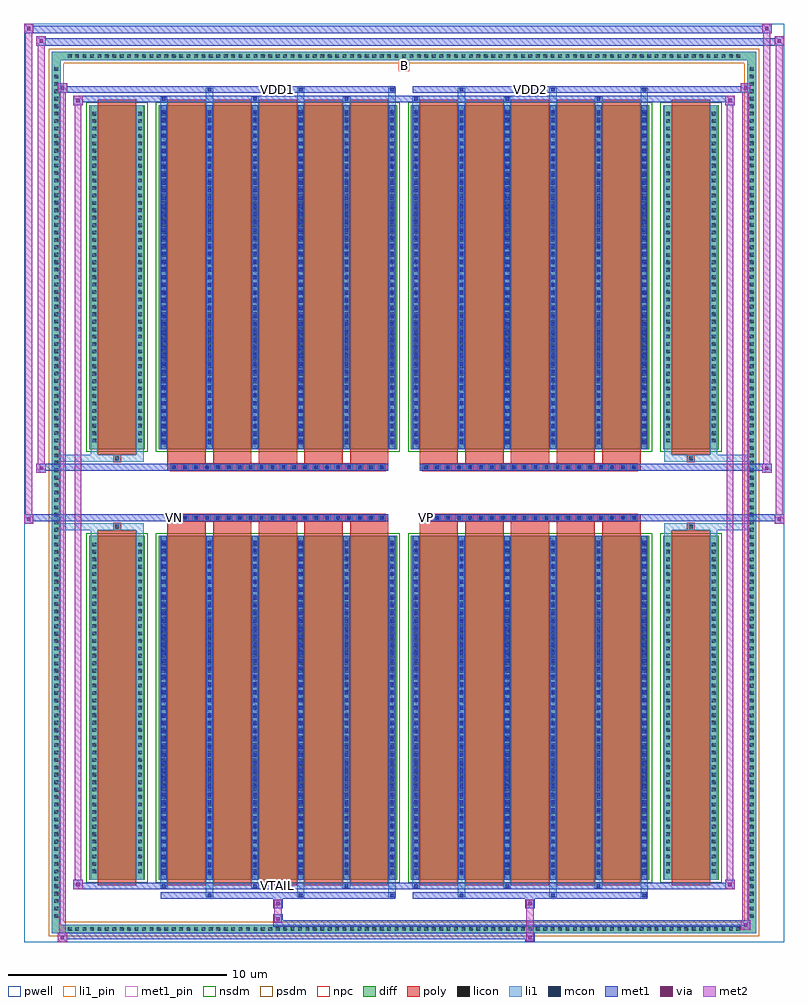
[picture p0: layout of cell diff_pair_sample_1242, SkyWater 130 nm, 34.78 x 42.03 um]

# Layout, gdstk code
import gdstk
lib = gdstk.Library(unit=1e-6, precision=5e-09)
def R(c, l, rs):  # rectangles x0, y0, x1, y1
    for r in rs: c.add(gdstk.rectangle(r[:2], r[2:], *l))
def A(c, l, x, y, w, h, nx, ny, dx, dy):  # array of equal rectangles
    R(c, l, [(x+i*dx, y+j*dy, x+i*dx+w, y+j*dy+h) for i in range(nx) for j in range(ny)])
def P(c, l, *ps):  # polygons
    for p in ps: c.add(gdstk.Polygon(p, *l))
pwell = (64, 44)
diff = (65, 20)
poly = (66, 20)
licon = (66, 44)
li1_pin = (67, 16)
li1 = (67, 20)
mcon = (67, 44)
met1_pin = (68, 16)
met1 = (68, 20)
via = (68, 44)
met2 = (69, 20)
nsdm = (93, 44)
psdm = (94, 20)
npc = (95, 20)

diff_pair_sample_1242 = lib.new_cell('diff_pair_sample_1242')
R(diff_pair_sample_1242, pwell, [(-17.39,-20.58,17.39,21.45), (-14.71,-18.77,-0.01,-0.795), (0.01,-18.77,14.71,-0.795), (-14.71,0.795,-0.01,18.77), (0.01,0.795,14.71,18.77)])
A(diff_pair_sample_1242, diff, -15.505, -20.18, 0.41, 0.41, 91, 2, 0.34, 39.95)
A(diff_pair_sample_1242, diff, -16.12, -19.585, 0.41, 0.41, 1, 115, 0, 0.34)
A(diff_pair_sample_1242, diff, 15.71, -19.585, 0.41, 0.41, 1, 115, 0, 0.34)
R(diff_pair_sample_1242, diff, [(-15.505,-20.18,15.505,-19.77), (-16.12,-19.585,-15.71,19.585), (15.71,-19.585,16.12,19.585), (-14.4,-17.725,-11.86,-1.985), (-11.22,-17.725,-0.32,-1.985), (0.32,-17.725,11.22,-1.985), (11.86,-17.725,14.4,-1.985), (-14.4,1.985,-11.86,17.725), (-11.22,1.985,-0.32,17.725), (0.32,1.985,11.22,17.725), (11.86,1.985,14.4,17.725), (-15.505,19.77,15.505,20.18)])
P(diff_pair_sample_1242, diff, [(16.12,20.18),(-16.12,20.18),(-16.12,-19.77),(-15.71,-19.77),(-15.71,19.77),(15.71,19.77),(15.71,-19.77),(-15.71,-19.77),(-16.12,-19.77),(-16.12,-20.18),(16.12,-20.18)])
A(diff_pair_sample_1242, poly, -10.83, -17.98, 1.76, 16.25, 5, 2, 2.09, 19.71)
A(diff_pair_sample_1242, poly, 0.71, -17.98, 1.76, 16.25, 5, 2, 2.09, 19.71)
A(diff_pair_sample_1242, poly, -10.83, -1.73, 1.76, 0.405, 5, 2, 2.09, 3.055)
A(diff_pair_sample_1242, poly, 0.71, -1.73, 1.76, 0.405, 5, 2, 2.09, 3.055)
A(diff_pair_sample_1242, poly, -10.685, -1.325, 0.33, 0.33, 20, 2, 0.5, 2.32)
A(diff_pair_sample_1242, poly, 0.855, -1.325, 0.33, 0.33, 20, 2, 0.5, 2.32)
R(diff_pair_sample_1242, poly, [(-14.01,-17.98,-12.25,-1.73), (12.25,-17.98,14.01,-1.73), (-13.295,-1.73,-12.965,-1.4), (-13.295,-1.73,-12.965,-1.4), (12.965,-1.73,13.295,-1.4), (12.965,-1.73,13.295,-1.4), (-10.83,-1.325,-0.71,-0.995), (0.71,-1.325,10.83,-0.995), (-10.83,0.995,-0.71,1.325), (0.71,0.995,10.83,1.325), (-13.295,1.4,-12.965,1.73), (-13.295,1.4,-12.965,1.73), (12.965,1.4,13.295,1.73), (12.965,1.4,13.295,1.73), (-14.01,1.73,-12.25,17.98), (12.25,1.73,14.01,17.98)])
A(diff_pair_sample_1242, licon, -15.385, -20.06, 0.17, 0.17, 91, 2, 0.34, 39.95)
A(diff_pair_sample_1242, licon, -16, -19.465, 0.17, 0.17, 1, 115, 0, 0.34)
A(diff_pair_sample_1242, licon, 15.83, -19.465, 0.17, 0.17, 1, 115, 0, 0.34)
A(diff_pair_sample_1242, licon, -14.26, -17.42, 0.17, 0.17, 1, 45, 0, 0.34)
A(diff_pair_sample_1242, licon, -12.17, -17.42, 0.17, 0.17, 1, 45, 0, 0.34)
A(diff_pair_sample_1242, licon, -11.08, -17.42, 0.17, 0.17, 6, 45, 2.09, 0.34)
A(diff_pair_sample_1242, licon, 0.46, -17.42, 0.17, 0.17, 6, 45, 2.09, 0.34)
A(diff_pair_sample_1242, licon, 12, -17.42, 0.17, 0.17, 1, 45, 0, 0.34)
A(diff_pair_sample_1242, licon, 14.09, -17.42, 0.17, 0.17, 1, 45, 0, 0.34)
A(diff_pair_sample_1242, licon, -10.605, -1.245, 0.17, 0.17, 20, 2, 0.5, 2.32)
A(diff_pair_sample_1242, licon, 0.935, -1.245, 0.17, 0.17, 20, 2, 0.5, 2.32)
A(diff_pair_sample_1242, licon, -14.26, 2.29, 0.17, 0.17, 1, 45, 0, 0.34)
A(diff_pair_sample_1242, licon, -12.17, 2.29, 0.17, 0.17, 1, 45, 0, 0.34)
A(diff_pair_sample_1242, licon, -11.08, 2.29, 0.17, 0.17, 6, 45, 2.09, 0.34)
A(diff_pair_sample_1242, licon, 0.46, 2.29, 0.17, 0.17, 6, 45, 2.09, 0.34)
A(diff_pair_sample_1242, licon, 12, 2.29, 0.17, 0.17, 1, 45, 0, 0.34)
A(diff_pair_sample_1242, licon, 14.09, 2.29, 0.17, 0.17, 1, 45, 0, 0.34)
R(diff_pair_sample_1242, licon, [(-13.215,-1.65,-13.045,-1.48), (13.045,-1.65,13.215,-1.48), (-13.215,1.48,-13.045,1.65), (13.045,1.48,13.215,1.65)])
R(diff_pair_sample_1242, li1_pin, [(-0.25,19.27,0.25,19.77)])
A(diff_pair_sample_1242, li1, -15.465, -20.14, 0.33, 0.33, 91, 2, 0.34, 39.95)
A(diff_pair_sample_1242, li1, -16.08, -19.545, 0.33, 0.33, 1, 115, 0, 0.34)
A(diff_pair_sample_1242, li1, 15.75, -19.545, 0.33, 0.33, 1, 115, 0, 0.34)
A(diff_pair_sample_1242, li1, -9.07, -18.53, 0.33, 0.805, 3, 2, 4.18, 36.255)
A(diff_pair_sample_1242, li1, -8.99, -18.53, 0.17, 0.17, 3, 2, 4.18, 36.89)
A(diff_pair_sample_1242, li1, 2.47, -18.53, 0.33, 0.805, 3, 2, 4.18, 36.255)
A(diff_pair_sample_1242, li1, 2.55, -18.53, 0.17, 0.17, 3, 2, 4.18, 36.89)
A(diff_pair_sample_1242, li1, -11.16, -18.1, 0.33, 0.375, 3, 2, 4.18, 35.825)
A(diff_pair_sample_1242, li1, -11.08, -18.1, 0.17, 0.17, 3, 2, 4.18, 36.03)
A(diff_pair_sample_1242, li1, 0.38, -18.1, 0.33, 0.375, 3, 2, 4.18, 35.825)
A(diff_pair_sample_1242, li1, 0.46, -18.1, 0.17, 0.17, 3, 2, 4.18, 36.03)
A(diff_pair_sample_1242, li1, -11.16, -17.725, 0.33, 15.74, 6, 2, 2.09, 19.71)
A(diff_pair_sample_1242, li1, 0.38, -17.725, 0.33, 15.74, 6, 2, 2.09, 19.71)
A(diff_pair_sample_1242, li1, -14.34, -17.5, 0.33, 0.33, 1, 45, 0, 0.34)
A(diff_pair_sample_1242, li1, -12.25, -17.5, 0.33, 0.33, 1, 45, 0, 0.34)
A(diff_pair_sample_1242, li1, -11.16, -17.5, 0.33, 0.33, 6, 45, 2.09, 0.34)
A(diff_pair_sample_1242, li1, -11.08, -17.5, 0.17, 0.17, 6, 43, 2.09, 0.36)
A(diff_pair_sample_1242, li1, -11.08, -17.5, 0.17, 15.29, 6, 2, 2.09, 19.71)
A(diff_pair_sample_1242, li1, 0.38, -17.5, 0.33, 0.33, 6, 45, 2.09, 0.34)
A(diff_pair_sample_1242, li1, 0.46, -17.5, 0.17, 0.17, 6, 43, 2.09, 0.36)
A(diff_pair_sample_1242, li1, 0.46, -17.5, 0.17, 15.29, 6, 2, 2.09, 19.71)
A(diff_pair_sample_1242, li1, 11.92, -17.5, 0.33, 0.33, 1, 45, 0, 0.34)
A(diff_pair_sample_1242, li1, 14.01, -17.5, 0.33, 0.33, 1, 45, 0, 0.34)
A(diff_pair_sample_1242, li1, -10.685, -1.325, 0.33, 0.33, 20, 2, 0.5, 2.32)
A(diff_pair_sample_1242, li1, 0.855, -1.325, 0.33, 0.33, 20, 2, 0.5, 2.32)
A(diff_pair_sample_1242, li1, -14.34, 2.21, 0.33, 0.33, 1, 45, 0, 0.34)
A(diff_pair_sample_1242, li1, -12.25, 2.21, 0.33, 0.33, 1, 45, 0, 0.34)
A(diff_pair_sample_1242, li1, -11.16, 2.21, 0.33, 0.33, 6, 45, 2.09, 0.34)
A(diff_pair_sample_1242, li1, -11.08, 2.21, 0.17, 0.17, 6, 43, 2.09, 0.36)
A(diff_pair_sample_1242, li1, 0.38, 2.21, 0.33, 0.33, 6, 45, 2.09, 0.34)
A(diff_pair_sample_1242, li1, 0.46, 2.21, 0.17, 0.17, 6, 43, 2.09, 0.36)
A(diff_pair_sample_1242, li1, 11.92, 2.21, 0.33, 0.33, 1, 45, 0, 0.34)
A(diff_pair_sample_1242, li1, 14.01, 2.21, 0.33, 0.33, 1, 45, 0, 0.34)
R(diff_pair_sample_1242, li1, [(-16.12,-20.18,-15.71,-19.77), (-16.12,-20.18,-15.71,-19.77), (-15.71,-20.18,15.71,-19.77), (15.71,-20.18,16.12,-19.77), (15.71,-20.18,16.12,-19.77), (-16.12,-19.77,-15.71,19.77), (15.71,-19.77,16.12,19.77), (-14.34,-17.725,-14.01,-1.985), (-12.25,-17.725,-11.92,-1.985), (11.92,-17.725,12.25,-1.985), (14.01,-17.725,14.34,-1.985), (-14.34,-1.985,-14.01,-1.4), (-12.25,-1.985,-11.92,-1.4), (11.92,-1.985,12.25,-1.4), (14.01,-1.985,14.34,-1.4), (-16.12,-1.73,-13.295,-1.4), (-14.34,-1.73,-13.295,-1.4), (-13.295,-1.73,-12.965,-1.4), (-12.965,-1.73,-11.92,-1.4), (11.92,-1.73,12.965,-1.4), (12.965,-1.73,13.295,-1.4), (12.965,-1.73,16.12,-1.4), (13.295,-1.73,14.34,-1.4), (-16.12,1.4,-13.295,1.73), (-14.34,1.4,-13.295,1.73), (-14.34,1.4,-14.01,1.985), (-13.295,1.4,-12.965,1.73), (-12.965,1.4,-11.92,1.73), (-12.25,1.4,-11.92,1.985), (11.92,1.4,12.965,1.73), (11.92,1.4,12.25,1.985), (12.965,1.4,13.295,1.73), (12.965,1.4,16.12,1.73), (13.295,1.4,14.34,1.73), (14.01,1.4,14.34,1.985), (-14.34,1.985,-14.01,17.725), (-12.25,1.985,-11.92,17.725), (11.92,1.985,12.25,17.725), (14.01,1.985,14.34,17.725), (-16.12,19.77,-15.71,20.18), (-16.12,19.77,-15.71,20.18), (-15.71,19.77,15.71,20.18), (15.71,19.77,16.12,20.18), (15.71,19.77,16.12,20.18)])
A(diff_pair_sample_1242, mcon, -8.99, -18.53, 0.17, 0.17, 3, 2, 4.18, 36.89)
A(diff_pair_sample_1242, mcon, 2.55, -18.53, 0.17, 0.17, 3, 2, 4.18, 36.89)
A(diff_pair_sample_1242, mcon, -11.08, -18.1, 0.17, 0.17, 3, 2, 4.18, 36.03)
A(diff_pair_sample_1242, mcon, 0.46, -18.1, 0.17, 0.17, 3, 2, 4.18, 36.03)
A(diff_pair_sample_1242, mcon, -11.08, -17.5, 0.17, 0.17, 6, 43, 2.09, 0.36)
A(diff_pair_sample_1242, mcon, 0.46, -17.5, 0.17, 0.17, 6, 43, 2.09, 0.36)
A(diff_pair_sample_1242, mcon, -10.605, -1.245, 0.17, 0.17, 20, 2, 0.5, 2.32)
A(diff_pair_sample_1242, mcon, 0.935, -1.245, 0.17, 0.17, 20, 2, 0.5, 2.32)
A(diff_pair_sample_1242, mcon, -11.08, 2.21, 0.17, 0.17, 6, 43, 2.09, 0.36)
A(diff_pair_sample_1242, mcon, 0.46, 2.21, 0.17, 0.17, 6, 43, 2.09, 0.36)
R(diff_pair_sample_1242, met1_pin, [(-5.905,-18.14,-5.635,-17.87), (-10.655,-1.285,-10.385,-1.015), (0.885,-1.285,1.155,-1.015), (-5.905,18.32,-5.635,18.59), (5.635,18.32,5.905,18.59)])
A(diff_pair_sample_1242, met1, -9.05, -18.59, 0.29, 0.29, 3, 2, 4.18, 36.89)
A(diff_pair_sample_1242, met1, 2.49, -18.59, 0.29, 0.29, 3, 2, 4.18, 36.89)
A(diff_pair_sample_1242, met1, -11.14, -18.16, 0.29, 0.29, 3, 2, 4.18, 36.03)
A(diff_pair_sample_1242, met1, 0.4, -18.16, 0.29, 0.29, 3, 2, 4.18, 36.03)
A(diff_pair_sample_1242, met1, -11.14, -17.725, 0.29, 15.74, 6, 2, 2.09, 19.71)
A(diff_pair_sample_1242, met1, 0.4, -17.725, 0.29, 15.74, 6, 2, 2.09, 19.71)
A(diff_pair_sample_1242, met1, -11.14, -17.56, 0.29, 0.29, 6, 43, 2.09, 0.36)
A(diff_pair_sample_1242, met1, 0.4, -17.56, 0.29, 0.29, 6, 43, 2.09, 0.36)
A(diff_pair_sample_1242, met1, -10.665, -1.305, 0.29, 0.29, 20, 2, 0.5, 2.32)
A(diff_pair_sample_1242, met1, 0.875, -1.305, 0.29, 0.29, 20, 2, 0.5, 2.32)
A(diff_pair_sample_1242, met1, -11.14, 2.15, 0.29, 0.29, 6, 43, 2.09, 0.36)
A(diff_pair_sample_1242, met1, 0.4, 2.15, 0.29, 0.29, 6, 43, 2.09, 0.36)
R(diff_pair_sample_1242, met1, [(-15.85,-20.58,-15.42,-20.15), (5.555,-20.58,5.985,-20.15), (-15.85,-20.44,5.985,-20.15), (15.42,-20.01,15.85,-19.58), (-5.985,-19.87,15.85,-19.58), (-5.985,-19.73,-5.555,-19.3), (-5.985,-19.02,-5.555,-18.59), (5.555,-19.02,5.985,-18.59), (-11.14,-18.59,-0.4,-18.3), (0.4,-18.59,11.14,-18.3), (-15.14,-18.16,-14.71,-17.73), (-15.14,-18.16,-11.14,-17.87), (-11.14,-18.16,-0.4,-17.87), (-0.4,-18.16,0.4,-17.87), (0.4,-18.16,11.14,-17.87), (11.14,-18.16,15.14,-17.87), (14.71,-18.16,15.14,-17.73), (-17.39,-1.425,-16.96,-0.995), (16.96,-1.425,17.39,-0.995), (-17.39,-1.325,-0.71,-0.995), (-10.83,-1.325,-0.71,-0.995), (0.71,-1.325,10.83,-0.995), (0.71,-1.325,17.39,-0.995), (-16.82,0.895,-16.39,1.325), (16.39,0.895,16.82,1.325), (-16.82,0.995,-10.83,1.325), (-10.83,0.995,-0.71,1.325), (0.71,0.995,10.83,1.325), (10.83,0.995,16.82,1.325), (-15.14,17.73,-14.71,18.16), (14.71,17.73,15.14,18.16), (-15.14,17.87,-11.14,18.16), (-11.14,17.87,-0.4,18.16), (-0.4,17.87,0.4,18.16), (0.4,17.87,11.14,18.16), (11.14,17.87,15.14,18.16), (-15.85,18.3,-15.42,18.73), (-15.85,18.3,-11.14,18.59), (-11.14,18.3,-0.4,18.59), (0.4,18.3,11.14,18.59), (11.14,18.3,15.85,18.59), (15.42,18.3,15.85,18.73), (-16.82,20.45,-16.39,20.88), (-16.82,20.45,-14.71,20.78), (-14.71,20.45,14.71,20.78), (14.71,20.45,17.39,20.78), (16.96,20.45,17.39,20.88), (-17.39,21.02,-16.96,21.45), (-17.39,21.02,-14.71,21.35), (-14.71,21.02,14.71,21.35), (14.71,21.02,16.82,21.35), (16.39,21.02,16.82,21.45)])
R(diff_pair_sample_1242, via, [(-15.71,-20.44,-15.56,-20.29), (5.695,-20.44,5.845,-20.29), (15.56,-19.87,15.71,-19.72), (-5.845,-19.59,-5.695,-19.44), (-5.845,-18.88,-5.695,-18.73), (5.695,-18.88,5.845,-18.73), (-15,-18.02,-14.85,-17.87), (14.85,-18.02,15,-17.87), (-17.25,-1.285,-17.1,-1.135), (17.1,-1.285,17.25,-1.135), (-16.68,1.035,-16.53,1.185), (16.53,1.035,16.68,1.185), (-15,17.87,-14.85,18.02), (14.85,17.87,15,18.02), (-15.71,18.44,-15.56,18.59), (15.56,18.44,15.71,18.59), (-16.68,20.59,-16.53,20.74), (17.1,20.59,17.25,20.74), (-17.25,21.16,-17.1,21.31), (16.53,21.16,16.68,21.31)])
R(diff_pair_sample_1242, met2, [(-15.85,-20.58,-15.42,-20.15), (-15.78,-20.58,-15.49,18.73), (-15.49,-20.58,-15.42,-20.15), (-15.8,-20.53,-15.47,-20.2), (5.605,-20.53,5.935,-20.2), (5.605,-20.2,5.935,-18.97), (15.42,-20.01,15.85,-19.58), (15.49,-20.01,15.78,18.73), (15.78,-20.01,15.85,-19.58), (15.47,-19.96,15.8,-19.63), (-5.935,-19.68,-5.605,-19.35), (-5.935,-19.35,-5.605,-18.97), (-5.935,-18.97,-5.605,-18.64), (5.605,-18.97,5.935,-18.64), (-15.14,-18.16,-14.71,-17.73), (-15.07,-18.16,-14.78,18.16), (-14.78,-18.16,-14.71,-17.73), (14.71,-18.16,15.14,-17.73), (14.78,-18.16,15.07,18.16), (15.07,-18.16,15.14,-17.73), (-15.09,-18.11,-14.76,-17.78), (14.76,-18.11,15.09,-17.78), (-17.39,-1.425,-16.96,-0.995), (-17.34,-1.425,-17.01,21.45), (-17.01,-1.425,-16.96,-0.995), (16.96,-1.425,17.39,-0.995), (17.01,-1.425,17.34,20.88), (17.34,-1.425,17.39,-0.995), (-17.34,-1.375,-17.01,-1.045), (17.01,-1.375,17.34,-1.045), (-16.82,0.895,-16.39,1.325), (-16.77,0.895,-16.44,20.88), (-16.44,0.895,-16.39,1.325), (16.39,0.895,16.82,1.325), (16.44,0.895,16.77,21.45), (16.77,0.895,16.82,1.325), (-16.77,0.945,-16.44,1.275), (16.44,0.945,16.77,1.275), (-15.14,17.73,-14.71,18.16), (-14.78,17.73,-14.71,18.16), (14.71,17.73,15.14,18.16), (15.07,17.73,15.14,18.16), (-15.09,17.78,-14.76,18.11), (14.76,17.78,15.09,18.11), (-15.85,18.3,-15.42,18.73), (-15.49,18.3,-15.42,18.73), (15.42,18.3,15.85,18.73), (15.78,18.3,15.85,18.73), (-15.8,18.35,-15.47,18.68), (15.47,18.35,15.8,18.68), (-16.82,20.45,-16.39,20.88), (-16.44,20.45,-16.39,20.88), (16.96,20.45,17.39,20.88), (17.34,20.45,17.39,20.88), (-16.77,20.5,-16.44,20.83), (17.01,20.5,17.34,20.83), (-17.39,21.02,-16.96,21.45), (-17.01,21.02,-16.96,21.45), (16.39,21.02,16.82,21.45), (16.77,21.02,16.82,21.45), (-17.34,21.07,-17.01,21.4), (16.44,21.07,16.77,21.4)])
R(diff_pair_sample_1242, nsdm, [(-14.53,-17.855,-11.73,-1.855), (-11.35,-17.855,-0.19,-1.855), (0.19,-17.855,11.35,-1.855), (11.73,-17.855,14.53,-1.855), (-14.53,1.855,-11.73,17.855), (-11.35,1.855,-0.19,17.855), (0.19,1.855,11.35,17.855), (11.73,1.855,14.53,17.855)])
P(diff_pair_sample_1242, psdm, [(16.25,20.31),(-16.25,20.31),(-16.25,-19.64),(-15.58,-19.64),(-15.58,19.64),(15.58,19.64),(15.58,-19.64),(-15.58,-19.64),(-16.25,-19.64),(-16.25,-20.31),(16.25,-20.31)])
A(diff_pair_sample_1242, npc, -10.705, -1.345, 0.37, 0.37, 20, 2, 0.5, 2.32)
A(diff_pair_sample_1242, npc, 0.835, -1.345, 0.37, 0.37, 20, 2, 0.5, 2.32)
R(diff_pair_sample_1242, npc, [(-13.315,-1.75,-12.945,-1.38), (12.945,-1.75,13.315,-1.38), (-10.705,-1.345,-9.835,-0.975), (-10.705,-1.345,-9.835,-0.975), (-10.205,-1.345,-9.335,-0.975), (-10.205,-1.345,-9.335,-0.975), (-9.705,-1.345,-8.835,-0.975), (-9.705,-1.345,-8.835,-0.975), (-9.205,-1.345,-8.335,-0.975), (-9.205,-1.345,-8.335,-0.975), (-8.705,-1.345,-7.835,-0.975), (-8.705,-1.345,-7.835,-0.975), (-8.205,-1.345,-7.335,-0.975), (-8.205,-1.345,-7.335,-0.975), (-7.705,-1.345,-6.835,-0.975), (-7.705,-1.345,-6.835,-0.975), (-7.205,-1.345,-6.335,-0.975), (-7.205,-1.345,-6.335,-0.975), (-6.705,-1.345,-5.835,-0.975), (-6.705,-1.345,-5.835,-0.975), (-6.205,-1.345,-5.335,-0.975), (-6.205,-1.345,-5.335,-0.975), (-5.705,-1.345,-4.835,-0.975), (-5.705,-1.345,-4.835,-0.975), (-5.205,-1.345,-4.335,-0.975), (-5.205,-1.345,-4.335,-0.975), (-4.705,-1.345,-3.835,-0.975), (-4.705,-1.345,-3.835,-0.975), (-4.205,-1.345,-3.335,-0.975), (-4.205,-1.345,-3.335,-0.975), (-3.705,-1.345,-2.835,-0.975), (-3.705,-1.345,-2.835,-0.975), (-3.205,-1.345,-2.335,-0.975), (-3.205,-1.345,-2.335,-0.975), (-2.705,-1.345,-1.835,-0.975), (-2.705,-1.345,-1.835,-0.975), (-2.205,-1.345,-1.335,-0.975), (-2.205,-1.345,-1.335,-0.975), (-1.705,-1.345,-0.835,-0.975), (-1.705,-1.345,-0.835,-0.975), (0.835,-1.345,1.705,-0.975), (0.835,-1.345,1.705,-0.975), (1.335,-1.345,2.205,-0.975), (1.335,-1.345,2.205,-0.975), (1.835,-1.345,2.705,-0.975), (1.835,-1.345,2.705,-0.975), (2.335,-1.345,3.205,-0.975), (2.335,-1.345,3.205,-0.975), (2.835,-1.345,3.705,-0.975), (2.835,-1.345,3.705,-0.975), (3.335,-1.345,4.205,-0.975), (3.335,-1.345,4.205,-0.975), (3.835,-1.345,4.705,-0.975), (3.835,-1.345,4.705,-0.975), (4.335,-1.345,5.205,-0.975), (4.335,-1.345,5.205,-0.975), (4.835,-1.345,5.705,-0.975), (4.835,-1.345,5.705,-0.975), (5.335,-1.345,6.205,-0.975), (5.335,-1.345,6.205,-0.975), (5.835,-1.345,6.705,-0.975), (5.835,-1.345,6.705,-0.975), (6.335,-1.345,7.205,-0.975), (6.335,-1.345,7.205,-0.975), (6.835,-1.345,7.705,-0.975), (6.835,-1.345,7.705,-0.975), (7.335,-1.345,8.205,-0.975), (7.335,-1.345,8.205,-0.975), (7.835,-1.345,8.705,-0.975), (7.835,-1.345,8.705,-0.975), (8.335,-1.345,9.205,-0.975), (8.335,-1.345,9.205,-0.975), (8.835,-1.345,9.705,-0.975), (8.835,-1.345,9.705,-0.975), (9.335,-1.345,10.205,-0.975), (9.335,-1.345,10.205,-0.975), (9.835,-1.345,10.705,-0.975), (9.835,-1.345,10.705,-0.975), (-10.705,0.975,-9.835,1.345), (-10.705,0.975,-9.835,1.345), (-10.205,0.975,-9.335,1.345), (-10.205,0.975,-9.335,1.345), (-9.705,0.975,-8.835,1.345), (-9.705,0.975,-8.835,1.345), (-9.205,0.975,-8.335,1.345), (-9.205,0.975,-8.335,1.345), (-8.705,0.975,-7.835,1.345), (-8.705,0.975,-7.835,1.345), (-8.205,0.975,-7.335,1.345), (-8.205,0.975,-7.335,1.345), (-7.705,0.975,-6.835,1.345), (-7.705,0.975,-6.835,1.345), (-7.205,0.975,-6.335,1.345), (-7.205,0.975,-6.335,1.345), (-6.705,0.975,-5.835,1.345), (-6.705,0.975,-5.835,1.345), (-6.205,0.975,-5.335,1.345), (-6.205,0.975,-5.335,1.345), (-5.705,0.975,-4.835,1.345), (-5.705,0.975,-4.835,1.345), (-5.205,0.975,-4.335,1.345), (-5.205,0.975,-4.335,1.345), (-4.705,0.975,-3.835,1.345), (-4.705,0.975,-3.835,1.345), (-4.205,0.975,-3.335,1.345), (-4.205,0.975,-3.335,1.345), (-3.705,0.975,-2.835,1.345), (-3.705,0.975,-2.835,1.345), (-3.205,0.975,-2.335,1.345), (-3.205,0.975,-2.335,1.345), (-2.705,0.975,-1.835,1.345), (-2.705,0.975,-1.835,1.345), (-2.205,0.975,-1.335,1.345), (-2.205,0.975,-1.335,1.345), (-1.705,0.975,-0.835,1.345), (-1.705,0.975,-0.835,1.345), (0.835,0.975,1.705,1.345), (0.835,0.975,1.705,1.345), (1.335,0.975,2.205,1.345), (1.335,0.975,2.205,1.345), (1.835,0.975,2.705,1.345), (1.835,0.975,2.705,1.345), (2.335,0.975,3.205,1.345), (2.335,0.975,3.205,1.345), (2.835,0.975,3.705,1.345), (2.835,0.975,3.705,1.345), (3.335,0.975,4.205,1.345), (3.335,0.975,4.205,1.345), (3.835,0.975,4.705,1.345), (3.835,0.975,4.705,1.345), (4.335,0.975,5.205,1.345), (4.335,0.975,5.205,1.345), (4.835,0.975,5.705,1.345), (4.835,0.975,5.705,1.345), (5.335,0.975,6.205,1.345), (5.335,0.975,6.205,1.345), (5.835,0.975,6.705,1.345), (5.835,0.975,6.705,1.345), (6.335,0.975,7.205,1.345), (6.335,0.975,7.205,1.345), (6.835,0.975,7.705,1.345), (6.835,0.975,7.705,1.345), (7.335,0.975,8.205,1.345), (7.335,0.975,8.205,1.345), (7.835,0.975,8.705,1.345), (7.835,0.975,8.705,1.345), (8.335,0.975,9.205,1.345), (8.335,0.975,9.205,1.345), (8.835,0.975,9.705,1.345), (8.835,0.975,9.705,1.345), (9.335,0.975,10.205,1.345), (9.335,0.975,10.205,1.345), (9.835,0.975,10.705,1.345), (9.835,0.975,10.705,1.345), (-13.315,1.38,-12.945,1.75), (12.945,1.38,13.315,1.75)])
diff_pair_sample_1242.add(gdstk.Label('VTAIL', (-5.77,-18.005), layer=68, texttype=5))
diff_pair_sample_1242.add(gdstk.Label('VN', (-10.52,-1.15), layer=68, texttype=5))
diff_pair_sample_1242.add(gdstk.Label('VP', (1.02,-1.15), layer=68, texttype=5))
diff_pair_sample_1242.add(gdstk.Label('B', (0,19.52), layer=67, texttype=5))
diff_pair_sample_1242.add(gdstk.Label('VDD2', (5.77,18.455), layer=68, texttype=5))
diff_pair_sample_1242.add(gdstk.Label('VDD1', (-5.77,18.455), layer=68, texttype=5))

lib.write_gds('diff_pair_sample_1242.gds')
